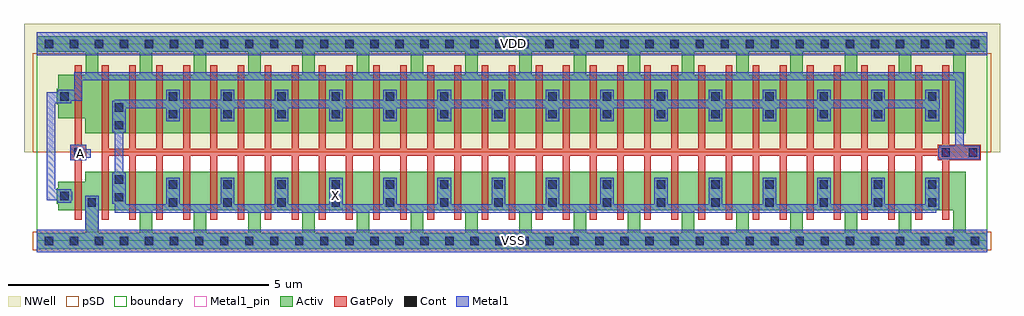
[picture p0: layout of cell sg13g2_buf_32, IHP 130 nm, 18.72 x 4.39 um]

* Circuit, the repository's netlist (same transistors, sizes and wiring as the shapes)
.SUBCKT sg13g2_buf_32 X A VDD VSS
*.PININFO A:I X:O VDD:B VSS:B
MN0 net1 A VSS VSS sg13_lv_nmos w=550.00n l=130.00n ng=1
MN1 X net1 VSS VSS sg13_lv_nmos w=23.68u l=130.00n ng=32
MP1 X net1 VDD VDD sg13_lv_pmos w=35.84u l=130.00n ng=32
MP0 net1 A VDD VDD sg13_lv_pmos w=840.00n l=130.00n ng=1
.ENDS

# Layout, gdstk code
import gdstk
lib = gdstk.Library(unit=1e-6, precision=1e-09)
def R(c, l, rs):  # rectangles x0, y0, x1, y1
    for r in rs: c.add(gdstk.rectangle(r[:2], r[2:], *l))
def A(c, l, x, y, w, h, nx, ny, dx, dy):  # array of equal rectangles
    R(c, l, [(x+i*dx, y+j*dy, x+i*dx+w, y+j*dy+h) for i in range(nx) for j in range(ny)])
def P(c, l, *ps):  # polygons
    for p in ps: c.add(gdstk.Polygon(p, *l))
Activ = (1, 0)
GatPoly = (5, 0)
Cont = (6, 0)
Metal1 = (8, 0)
Metal1_pin = (8, 2)
pSD = (14, 0)
NWell = (31, 0)
boundary = (189, 4)

sg13g2_buf_32 = lib.new_cell('sg13g2_buf_32')
P(sg13g2_buf_32, Activ, [(0.94,0.15),(0,0.15),(0,-0.15),(18.24,-0.15),(18.24,0.15),(0.94,0.15),(1.18,0.15),(1.18,0.59),(1.98,0.59),(1.98,0.15),(2.22,0.15),(2.22,0.59),(3.02,0.59),(3.02,0.15),(3.26,0.15),(3.26,0.59),(4.06,0.59),(4.06,0.15),(4.3,0.15),(4.3,0.59),(5.1,0.59),(5.1,0.15),(5.34,0.15),(5.34,0.59),(6.14,0.59),(6.14,0.15),(6.38,0.15),(6.38,0.59),(7.18,0.59),(7.18,0.15),(7.42,0.15),(7.42,0.59),(8.22,0.59),(8.22,0.15),(8.46,0.15),(8.46,0.59),(9.26,0.59),(9.26,0.15),(9.5,0.15),(9.5,0.59),(10.3,0.59),(10.3,0.15),(10.54,0.15),(10.54,0.59),(11.34,0.59),(11.34,0.15),(11.58,0.15),(11.58,0.59),(12.38,0.59),(12.38,0.15),(12.62,0.15),(12.62,0.59),(13.42,0.59),(13.42,0.15),(13.66,0.15),(13.66,0.59),(14.46,0.59),(14.46,0.15),(14.7,0.15),(14.7,0.59),(15.5,0.59),(15.5,0.15),(15.74,0.15),(15.74,0.59),(16.54,0.59),(16.54,0.15),(16.78,0.15),(16.78,0.59),(17.58,0.59),(17.58,0.15),(17.82,0.15),(17.82,0.59),(17.825,0.59),(17.825,1.33),(0.935,1.33),(0.935,1.14),(0.415,1.14),(0.415,1.015),(0.39,1.015),(0.39,0.715),(0.415,0.715),(0.415,0.59),(0.94,0.59)],
  [(0.94,3.19),(1.18,3.19),(1.18,3.63),(1.98,3.63),(1.98,3.19),(2.22,3.19),(2.22,3.63),(3.02,3.63),(3.02,3.19),(3.26,3.19),(3.26,3.63),(4.06,3.63),(4.06,3.19),(4.3,3.19),(4.3,3.63),(5.1,3.63),(5.1,3.19),(5.34,3.19),(5.34,3.63),(6.14,3.63),(6.14,3.19),(6.38,3.19),(6.38,3.63),(7.18,3.63),(7.18,3.19),(7.42,3.19),(7.42,3.63),(8.22,3.63),(8.22,3.19),(8.46,3.19),(8.46,3.63),(9.26,3.63),(9.26,3.19),(9.5,3.19),(9.5,3.63),(10.3,3.63),(10.3,3.19),(10.54,3.19),(10.54,3.63),(11.34,3.63),(11.34,3.19),(11.58,3.19),(11.58,3.63),(12.38,3.63),(12.38,3.19),(12.62,3.19),(12.62,3.63),(13.42,3.63),(13.42,3.19),(13.66,3.19),(13.66,3.63),(14.46,3.63),(14.46,3.19),(14.7,3.19),(14.7,3.63),(15.5,3.63),(15.5,3.19),(15.74,3.19),(15.74,3.63),(16.54,3.63),(16.54,3.19),(16.78,3.19),(16.78,3.63),(17.58,3.63),(17.58,3.19),(17.82,3.19),(17.82,3.63),(18.24,3.63),(18.24,3.93),(0,3.93),(0,3.63),(0.94,3.63),(0.94,3.19),(0.415,3.19),(0.415,2.92),(0.39,2.92),(0.39,2.62),(0.415,2.62),(0.415,2.35),(0.935,2.35),(0.935,2.07),(17.825,2.07),(17.825,3.19)])
P(sg13g2_buf_32, GatPoly, [(0.65,1.55),(0.735,1.55),(0.735,0.41),(0.865,0.41),(0.865,1.55),(0.95,1.55),(0.95,1.85),(0.865,1.85),(0.865,3.37),(0.735,3.37),(0.735,1.85),(0.65,1.85)],
  [(1.255,0.41),(1.385,0.41),(1.385,1.635),(1.775,1.635),(1.775,0.41),(1.905,0.41),(1.905,1.635),(2.295,1.635),(2.295,0.41),(2.425,0.41),(2.425,1.635),(2.815,1.635),(2.815,0.41),(2.945,0.41),(2.945,1.635),(3.335,1.635),(3.335,0.41),(3.465,0.41),(3.465,1.635),(3.855,1.635),(3.855,0.41),(3.985,0.41),(3.985,1.635),(4.375,1.635),(4.375,0.41),(4.505,0.41),(4.505,1.635),(4.895,1.635),(4.895,0.41),(5.025,0.41),(5.025,1.635),(5.415,1.635),(5.415,0.41),(5.545,0.41),(5.545,1.635),(5.935,1.635),(5.935,0.41),(6.065,0.41),(6.065,1.635),(6.455,1.635),(6.455,0.41),(6.585,0.41),(6.585,1.635),(6.975,1.635),(6.975,0.41),(7.105,0.41),(7.105,1.635),(7.495,1.635),(7.495,0.41),(7.625,0.41),(7.625,1.635),(8.015,1.635),(8.015,0.41),(8.145,0.41),(8.145,1.635),(8.535,1.635),(8.535,0.41),(8.665,0.41),(8.665,1.635),(9.055,1.635),(9.055,0.41),(9.185,0.41),(9.185,1.635),(9.575,1.635),(9.575,0.41),(9.705,0.41),(9.705,1.635),(10.095,1.635),(10.095,0.41),(10.225,0.41),(10.225,1.635),(10.615,1.635),(10.615,0.41),(10.745,0.41),(10.745,1.635),(11.135,1.635),(11.135,0.41),(11.265,0.41),(11.265,1.635),(11.655,1.635),(11.655,0.41),(11.785,0.41),(11.785,1.635),(12.175,1.635),(12.175,0.41),(12.305,0.41),(12.305,1.635),(12.695,1.635),(12.695,0.41),(12.825,0.41),(12.825,1.635),(13.215,1.635),(13.215,0.41),(13.345,0.41),(13.345,1.635),(13.735,1.635),(13.735,0.41),(13.865,0.41),(13.865,1.635),(14.255,1.635),(14.255,0.41),(14.385,0.41),(14.385,1.635),(14.775,1.635),(14.775,0.41),(14.905,0.41),(14.905,1.635),(15.295,1.635),(15.295,0.41),(15.425,0.41),(15.425,1.635),(15.815,1.635),(15.815,0.41),(15.945,0.41),(15.945,1.635),(16.335,1.635),(16.335,0.41),(16.465,0.41),(16.465,1.635),(16.855,1.635),(16.855,0.41),(16.985,0.41),(16.985,1.635),(17.29,1.635),(17.29,1.55),(17.375,1.55),(17.375,0.41),(17.505,0.41),(17.505,1.55),(18.11,1.55),(18.11,1.85),(17.505,1.85),(17.505,3.37),(17.375,3.37),(17.375,1.85),(17.29,1.85),(17.29,1.765),(16.985,1.765),(16.985,3.37),(16.855,3.37),(16.855,1.765),(16.465,1.765),(16.465,3.37),(16.335,3.37),(16.335,1.765),(15.945,1.765),(15.945,3.37),(15.815,3.37),(15.815,1.765),(15.425,1.765),(15.425,3.37),(15.295,3.37),(15.295,1.765),(14.905,1.765),(14.905,3.37),(14.775,3.37),(14.775,1.765),(14.385,1.765),(14.385,3.37),(14.255,3.37),(14.255,1.765),(13.865,1.765),(13.865,3.37),(13.735,3.37),(13.735,1.765),(13.345,1.765),(13.345,3.37),(13.215,3.37),(13.215,1.765),(12.825,1.765),(12.825,3.37),(12.695,3.37),(12.695,1.765),(12.305,1.765),(12.305,3.37),(12.175,3.37),(12.175,1.765),(11.785,1.765),(11.785,3.37),(11.655,3.37),(11.655,1.765),(11.265,1.765),(11.265,3.37),(11.135,3.37),(11.135,1.765),(10.745,1.765),(10.745,3.37),(10.615,3.37),(10.615,1.765),(10.225,1.765),(10.225,3.37),(10.095,3.37),(10.095,1.765),(9.705,1.765),(9.705,3.37),(9.575,3.37),(9.575,1.765),(9.185,1.765),(9.185,3.37),(9.055,3.37),(9.055,1.765),(8.665,1.765),(8.665,3.37),(8.535,3.37),(8.535,1.765),(8.145,1.765),(8.145,3.37),(8.015,3.37),(8.015,1.765),(7.625,1.765),(7.625,3.37),(7.495,3.37),(7.495,1.765),(7.105,1.765),(7.105,3.37),(6.975,3.37),(6.975,1.765),(6.585,1.765),(6.585,3.37),(6.455,3.37),(6.455,1.765),(6.065,1.765),(6.065,3.37),(5.935,3.37),(5.935,1.765),(5.545,1.765),(5.545,3.37),(5.415,3.37),(5.415,1.765),(5.025,1.765),(5.025,3.37),(4.895,3.37),(4.895,1.765),(4.505,1.765),(4.505,3.37),(4.375,3.37),(4.375,1.765),(3.985,1.765),(3.985,3.37),(3.855,3.37),(3.855,1.765),(3.465,1.765),(3.465,3.37),(3.335,3.37),(3.335,1.765),(2.945,1.765),(2.945,3.37),(2.815,3.37),(2.815,1.765),(2.425,1.765),(2.425,3.37),(2.295,3.37),(2.295,1.765),(1.905,1.765),(1.905,3.37),(1.775,3.37),(1.775,1.765),(1.385,1.765),(1.385,3.37),(1.255,3.37)])
A(sg13g2_buf_32, Cont, 0.16, -0.08, 0.16, 0.16, 38, 2, 0.48, 3.78)
A(sg13g2_buf_32, Cont, 2.54, 0.66, 0.16, 0.16, 15, 2, 1.04, 0.34)
A(sg13g2_buf_32, Cont, 2.54, 2.35, 0.16, 0.16, 15, 2, 1.04, 0.34)
R(sg13g2_buf_32, Cont, [(0.98,0.66,1.14,0.82), (1.5,0.76,1.66,0.92), (0.46,0.785,0.62,0.945), (1.5,1.1,1.66,1.26), (0.72,1.62,0.88,1.78), (17.36,1.62,17.52,1.78), (17.88,1.62,18.04,1.78), (1.5,2.14,1.66,2.3), (1.5,2.48,1.66,2.64), (0.46,2.69,0.62,2.85)])
R(sg13g2_buf_32, Metal1, [(0,3.56,18.24,4)])
P(sg13g2_buf_32, Metal1, [(0,-0.22),(18.24,-0.22),(18.24,0.22),(1.19,0.22),(1.19,0.87),(0.93,0.87),(0.93,0.22),(0,0.22)],
  [(0.2,0.785),(0.41,0.785),(0.41,0.735),(0.67,0.735),(0.67,0.785),(0.685,0.785),(0.685,0.945),(0.67,0.945),(0.67,0.995),(0.36,0.995),(0.36,2.64),(0.67,2.64),(0.67,2.69),(0.88,2.69),(0.88,3.08),(17.62,3.08),(17.62,1.83),(17.31,1.83),(17.31,1.78),(17.295,1.78),(17.295,1.62),(17.31,1.62),(17.31,1.57),(18.09,1.57),(18.09,1.83),(17.78,1.83),(17.78,3.24),(0.72,3.24),(0.72,2.9),(0.41,2.9),(0.41,2.85),(0.2,2.85)],
  [(0.65,1.55),(0.95,1.55),(0.95,1.6),(1.04,1.6),(1.04,1.76),(0.95,1.76),(0.95,1.85),(0.65,1.85)],
  [(1.45,0.71),(1.5,0.71),(1.5,0.54),(17.26,0.54),(17.26,0.61),(17.31,0.61),(17.31,1.21),(17.05,1.21),(17.05,0.7),(16.27,0.7),(16.27,1.21),(16.01,1.21),(16.01,0.7),(15.23,0.7),(15.23,1.21),(14.97,1.21),(14.97,0.7),(14.19,0.7),(14.19,1.21),(13.93,1.21),(13.93,0.7),(13.15,0.7),(13.15,1.21),(12.89,1.21),(12.89,0.7),(12.11,0.7),(12.11,1.21),(11.85,1.21),(11.85,0.7),(11.07,0.7),(11.07,1.21),(10.81,1.21),(10.81,0.7),(10.03,0.7),(10.03,1.21),(9.77,1.21),(9.77,0.7),(8.99,0.7),(8.99,1.21),(8.73,1.21),(8.73,0.7),(7.95,0.7),(7.95,1.21),(7.69,1.21),(7.69,0.7),(6.91,0.7),(6.91,1.21),(6.65,1.21),(6.65,0.7),(5.87,0.7),(5.87,1.21),(5.61,1.21),(5.61,0.7),(4.83,0.7),(4.83,1.21),(4.57,1.21),(4.57,0.7),(3.79,0.7),(3.79,1.21),(3.53,1.21),(3.53,0.7),(2.75,0.7),(2.75,1.21),(2.49,1.21),(2.49,0.7),(1.71,0.7),(1.71,1.31),(1.66,1.31),(1.66,2.09),(1.71,2.09),(1.71,2.55),(2.49,2.55),(2.49,2.3),(2.75,2.3),(2.75,2.55),(3.53,2.55),(3.53,2.3),(3.79,2.3),(3.79,2.55),(4.57,2.55),(4.57,2.3),(4.83,2.3),(4.83,2.55),(5.61,2.55),(5.61,2.3),(5.87,2.3),(5.87,2.55),(6.65,2.55),(6.65,2.3),(6.91,2.3),(6.91,2.55),(7.69,2.55),(7.69,2.3),(7.95,2.3),(7.95,2.55),(8.73,2.55),(8.73,2.3),(8.99,2.3),(8.99,2.55),(9.77,2.55),(9.77,2.3),(10.03,2.3),(10.03,2.55),(10.81,2.55),(10.81,2.3),(11.07,2.3),(11.07,2.55),(11.85,2.55),(11.85,2.3),(12.11,2.3),(12.11,2.55),(12.89,2.55),(12.89,2.3),(13.15,2.3),(13.15,2.55),(13.93,2.55),(13.93,2.3),(14.19,2.3),(14.19,2.55),(14.97,2.55),(14.97,2.3),(15.23,2.3),(15.23,2.55),(16.01,2.55),(16.01,2.3),(16.27,2.3),(16.27,2.55),(17.05,2.55),(17.05,2.3),(17.31,2.3),(17.31,2.55),(17.325,2.55),(17.325,2.71),(17.31,2.71),(17.31,2.9),(17.05,2.9),(17.05,2.71),(16.27,2.71),(16.27,2.9),(16.01,2.9),(16.01,2.71),(15.23,2.71),(15.23,2.9),(14.97,2.9),(14.97,2.71),(14.19,2.71),(14.19,2.9),(13.93,2.9),(13.93,2.71),(13.15,2.71),(13.15,2.9),(12.89,2.9),(12.89,2.71),(12.11,2.71),(12.11,2.9),(11.85,2.9),(11.85,2.71),(11.07,2.71),(11.07,2.9),(10.81,2.9),(10.81,2.71),(10.03,2.71),(10.03,2.9),(9.77,2.9),(9.77,2.71),(8.99,2.71),(8.99,2.9),(8.73,2.9),(8.73,2.71),(7.95,2.71),(7.95,2.9),(7.69,2.9),(7.69,2.71),(6.91,2.71),(6.91,2.9),(6.65,2.9),(6.65,2.71),(5.87,2.71),(5.87,2.9),(5.61,2.9),(5.61,2.71),(4.83,2.71),(4.83,2.9),(4.57,2.9),(4.57,2.71),(3.79,2.71),(3.79,2.9),(3.53,2.9),(3.53,2.71),(2.75,2.71),(2.75,2.9),(2.49,2.9),(2.49,2.71),(1.5,2.71),(1.5,2.69),(1.45,2.69),(1.45,2.09),(1.5,2.09),(1.5,1.31),(1.45,1.31)])
R(sg13g2_buf_32, Metal1_pin, [(0,-0.22,18.24,0.22), (5.61,0.54,5.87,1.21), (0.65,1.6,1.04,1.76), (0,3.56,18.24,4)])
R(sg13g2_buf_32, pSD, [(-0.07,-0.18,18.31,0.18), (-0.07,1.7,18.31,3.6)])
R(sg13g2_buf_32, NWell, [(-0.24,1.7,18.48,4.17)])
R(sg13g2_buf_32, boundary, [(0,0,18.24,3.78)])
sg13g2_buf_32.add(gdstk.Label('A', (0.845,1.68), layer=8, texttype=25))
sg13g2_buf_32.add(gdstk.Label('X', (5.74,0.875), layer=8, texttype=25))
sg13g2_buf_32.add(gdstk.Label('VSS', (9.14,0), layer=8, texttype=25))
sg13g2_buf_32.add(gdstk.Label('VDD', (9.14,3.78), layer=8, texttype=25))

lib.write_gds('sg13g2_buf_32.gds')
